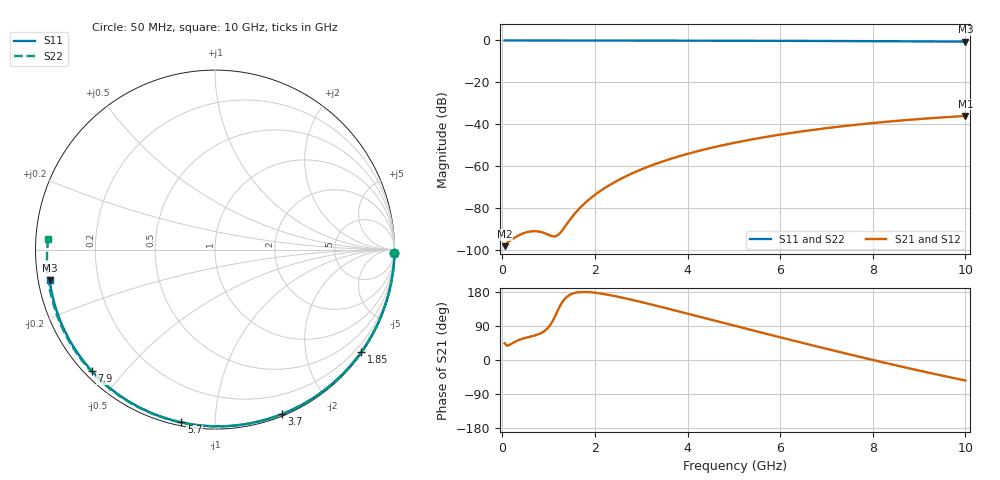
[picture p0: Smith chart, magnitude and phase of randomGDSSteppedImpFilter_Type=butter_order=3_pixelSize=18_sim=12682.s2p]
! freq	dB(S11)	phase(S11)	dB(S12)	phase(S12)
!  dB(S21)	phase(S21)	dB(S22)	phase(S22)
!S-par simulation data
#  GHz  S  DB  R 50
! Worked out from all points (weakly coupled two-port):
!   200 points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, 50 MHz to 10 GHz, reference 50 ohm
!   highest |S21| = -36.07 dB at 10 GHz (marker M1); lowest = -98.3 dB at 50 MHz (marker M2)
!   lowest |S11| = -0.6 dB at 10 GHz (marker M3), VSWR 30.62, Z = 1.65 - j4.59 ohm
!   |S11| at or under -10 dB: nowhere
!   |S22| runs from -0.6 to 0.0 dB; largest |S21 - S12| = 0
!   S11 on the Smith chart (normalised r, x): 50 MHz: open; 1.85 GHz: 0.03, -3.18; 3.7 GHz: 0.02, -1.49; 5.7 GHz: 0.02, -0.82; 7.9 GHz: 0.02, -0.41; 10 GHz: 0.03, -0.09
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0.05  -0.00 -1.0  -98.26 44.1  -98.26 44.1  -0.00 -1.0
0.4  -0.01 -7.7  -92.61 54.7  -92.61 54.7  -0.01 -8.4
0.8  -0.02 -15.3  -91.33 68.9  -91.33 68.9  -0.02 -16.7
1.2  -0.03 -22.8  -92.99 131.2  -92.99 131.2  -0.03 -24.9
1.65  -0.04 -31.2  -80.62 178.8  -80.62 178.8  -0.04 -34.0
1.7  -0.04 -32.1  -79.48 179.3  -79.48 179.3  -0.04 -35.0
1.75  -0.04 -33.0  -78.40 179.5  -78.40 179.5  -0.05 -36.0
1.85  -0.04 -34.9  -76.40 179.2  -76.40 179.2  -0.05 -38.0
2.15  -0.05 -40.4  -71.39 174.9  -71.39 174.9  -0.06 -44.0
2.5  -0.06 -46.7  -66.79 166.9  -66.79 166.9  -0.06 -50.9
2.9  -0.07 -53.9  -62.55 155.9  -62.55 155.9  -0.08 -58.6
3.4  -0.08 -62.7  -58.28 141.0  -58.28 141.0  -0.09 -68.1
3.7  -0.09 -67.9  -56.11 131.7  -56.11 131.7  -0.10 -73.7
4.35  -0.11 -78.9  -52.15 111.3  -52.15 111.3  -0.12 -85.5
5.05  -0.14 -90.5  -48.71 89.4  -48.71 89.4  -0.15 -97.9
5.7  -0.17 -101.0  -46.06 69.1  -46.06 69.1  -0.18 -109.1
6.7  -0.23 -116.8  -42.74 38.6  -42.74 38.6  -0.25 -126.0
7.3  -0.27 -126.2  -41.09 20.6  -41.09 20.6  -0.29 -136.0
7.9  -0.32 -135.5  -39.67 3.0  -39.67 3.0  -0.35 -146.1
8.35  -0.37 -142.6  -38.73 -9.9  -38.73 -9.9  -0.39 -153.7
9.2  -0.46 -156.2  -37.22 -33.3  -37.22 -33.3  -0.50 -168.7
10  -0.57 -169.5  -36.07 -54.0  -36.07 -54.0  -0.62 176.3
